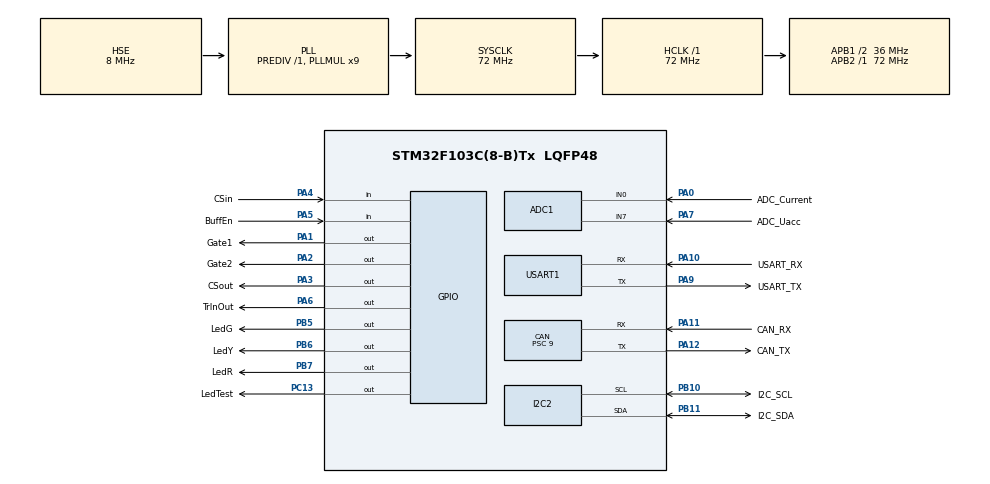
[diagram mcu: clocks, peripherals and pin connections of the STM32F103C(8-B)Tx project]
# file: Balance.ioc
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ADC1.Channel-6\#ChannelRegularConversion=ADC_CHANNEL_0
ADC1.Channel-7\#ChannelRegularConversion=ADC_CHANNEL_7
ADC1.EnableRegularConversion=ENABLE
ADC1.InjNumberOfConversion=0
ADC1.NbrOfConversion=2
ADC1.NbrOfConversionFlag=1
ADC1.Rank-6\#ChannelRegularConversion=1
ADC1.Rank-7\#ChannelRegularConversion=2
ADC1.SamplingTime-6\#ChannelRegularConversion=ADC_SAMPLETIME_13CYCLES_5
ADC1.SamplingTime-7\#ChannelRegularConversion=ADC_SAMPLETIME_13CYCLES_5
ADC1.master=1
CAN.BS1=CAN_BS1_4TQ
CAN.BS2=CAN_BS2_3TQ
CAN.CalculateTimeBit=2000
CAN.CalculateTimeQuantum=250.0
CAN.Mode=CAN_MODE_SILENT_LOOPBACK
CAN.NART=ENABLE
CAN.Prescaler=9
CAN.TXFP=ENABLE
Dma.ADC1.2.Direction=DMA_PERIPH_TO_MEMORY
Dma.ADC1.2.Instance=DMA1_Channel1
Dma.ADC1.2.MemDataAlignment=DMA_MDATAALIGN_HALFWORD
Dma.ADC1.2.MemInc=DMA_MINC_ENABLE
Dma.ADC1.2.Mode=DMA_CIRCULAR
Dma.ADC1.2.PeriphDataAlignment=DMA_PDATAALIGN_HALFWORD
Dma.ADC1.2.PeriphInc=DMA_PINC_DISABLE
Dma.ADC1.2.Priority=DMA_PRIORITY_MEDIUM
Dma.Request0=USART1_TX
Dma.Request1=USART1_RX
Dma.Request2=ADC1
Dma.USART1_RX.1.Direction=DMA_PERIPH_TO_MEMORY
Dma.USART1_RX.1.Instance=DMA1_Channel5
Dma.USART1_RX.1.MemDataAlignment=DMA_MDATAALIGN_BYTE
Dma.USART1_RX.1.MemInc=DMA_MINC_ENABLE
Dma.USART1_RX.1.Mode=DMA_NORMAL
Dma.USART1_RX.1.PeriphDataAlignment=DMA_PDATAALIGN_BYTE
Dma.USART1_RX.1.PeriphInc=DMA_PINC_DISABLE
Dma.USART1_RX.1.Priority=DMA_PRIORITY_LOW
Dma.USART1_TX.0.Direction=DMA_MEMORY_TO_PERIPH
Dma.USART1_TX.0.Instance=DMA1_Channel4
Dma.USART1_TX.0.MemDataAlignment=DMA_MDATAALIGN_BYTE
Dma.USART1_TX.0.MemInc=DMA_MINC_ENABLE
Dma.USART1_TX.0.Mode=DMA_NORMAL
Dma.USART1_TX.0.PeriphDataAlignment=DMA_PDATAALIGN_BYTE
Dma.USART1_TX.0.PeriphInc=DMA_PINC_DISABLE
Dma.USART1_TX.0.Priority=DMA_PRIORITY_LOW
Mcu.Family=STM32F1
Mcu.Name=STM32F103C(8-B)Tx
Mcu.Package=LQFP48
Mcu.UserConstants=USART_BAUD_RATE,115200
NVIC.DMA1_Channel1_IRQn=true\:0\:0\:false\:false\:true\:false
NVIC.DMA1_Channel4_IRQn=true\:0\:0\:false\:false\:true\:false
NVIC.DMA1_Channel5_IRQn=true\:0\:0\:false\:false\:true\:false
NVIC.PriorityGroup=NVIC_PRIORITYGROUP_4
NVIC.USART1_IRQn=true\:0\:0\:false\:false\:true\:true
NVIC.USB_LP_CAN1_RX0_IRQn=true\:0\:0\:false\:false\:true\:true
PA0-WKUP.GPIO_Label=ADC_Current
PA0-WKUP.Signal=ADCx_IN0
PA1.GPIO_Label=Gate1
PA1.GPIO_PuPd=GPIO_PULLDOWN
PA1.PinState=GPIO_PIN_RESET
PA1.Signal=GPIO_Output
PA10.GPIO_Label=USART_RX
PA10.GPIO_PuPd=GPIO_PULLUP
PA10.Mode=Asynchronous
PA10.Signal=USART1_RX
PA11.GPIO_Label=CAN_RX
PA11.GPIO_PuPd=GPIO_PULLUP
PA11.Mode=Master
PA11.Signal=CAN_RX
PA12.GPIO_Label=CAN_TX
PA12.Mode=Master
PA12.Signal=CAN_TX
PA13.GPIO_Label=SWDIO
PA13.Mode=Serial_Wire
PA13.Signal=SYS_JTMS-SWDIO
PA14.GPIO_Label=SWCLK
PA14.Mode=Serial_Wire
PA14.Signal=SYS_JTCK-SWCLK
PA2.GPIO_Label=Gate2
PA2.GPIO_PuPd=GPIO_PULLDOWN
PA2.Signal=GPIO_Output
PA3.GPIO_Label=CSout
PA3.GPIO_PuPd=GPIO_NOPULL
PA3.PinState=GPIO_PIN_SET
PA3.Signal=GPIO_Output
PA4.GPIO_Label=CSin
PA4.GPIO_PuPd=GPIO_PULLUP
PA4.Signal=GPIO_Input
PA5.GPIO_Label=BuffEn
PA5.GPIO_PuPd=GPIO_PULLUP
PA5.Signal=GPIO_Input
PA6.GPIO_Label=TrInOut
PA6.GPIO_PuPd=GPIO_PULLDOWN
PA6.Signal=GPIO_Output
PA7.GPIO_Label=ADC_Uacc
PA7.Signal=ADCx_IN7
PA9.GPIO_Label=USART_TX
PA9.Mode=Asynchronous
PA9.Signal=USART1_TX
PB10.GPIO_Label=I2C_SCL
PB10.Mode=I2C
PB10.Signal=I2C2_SCL
PB11.GPIO_Label=I2C_SDA
PB11.Mode=I2C
PB11.Signal=I2C2_SDA
PB5.GPIO_Label=LedG
PB5.GPIO_PuPd=GPIO_NOPULL
PB5.PinState=GPIO_PIN_SET
PB5.Signal=GPIO_Output
PB6.GPIO_Label=LedY
PB6.GPIO_PuPd=GPIO_NOPULL
PB6.PinState=GPIO_PIN_SET
PB6.Signal=GPIO_Output
PB7.GPIO_Label=LedR
PB7.GPIO_PuPd=GPIO_NOPULL
PB7.PinState=GPIO_PIN_SET
PB7.Signal=GPIO_Output
PC13-TAMPER-RTC.GPIO_Label=LedTest
PC13-TAMPER-RTC.GPIO_PuPd=GPIO_NOPULL
PC13-TAMPER-RTC.PinState=GPIO_PIN_SET
PC13-TAMPER-RTC.Signal=GPIO_Output
PD0-OSC_IN.GPIO_Label=OSC_IN
PD0-OSC_IN.Mode=HSE-External-Oscillator
PD0-OSC_IN.Signal=RCC_OSC_IN
PD1-OSC_OUT.GPIO_Label=OSC_OUT
PD1-OSC_OUT.Mode=HSE-External-Oscillator
PD1-OSC_OUT.Signal=RCC_OSC_OUT
ProjectManager.HeapSize=0x200
ProjectManager.StackSize=0x400
ProjectManager.TargetToolchain=Other Toolchains (GPDSC)
RCC.ADCPresc=RCC_ADCPCLK2_DIV6
RCC.AHBFreq_Value=72000000
RCC.APB1CLKDivider=RCC_HCLK_DIV2
RCC.APB1Freq_Value=36000000
RCC.APB1TimFreq_Value=72000000
RCC.APB2Freq_Value=72000000
RCC.APB2TimFreq_Value=72000000
RCC.HCLKFreq_Value=72000000
RCC.PLLMUL=RCC_PLL_MUL9
RCC.PLLSourceVirtual=RCC_PLLSOURCE_HSE
RCC.SYSCLKFreq_VALUE=72000000
RCC.SYSCLKSource=RCC_SYSCLKSOURCE_PLLCLK
RCC.USBFreq_Value=72000000
SH.ADCx_IN0.0=ADC1_IN0,IN0
SH.ADCx_IN7.0=ADC1_IN7,IN7
USART1.BaudRate=USART_BAUD_RATE
USART1.VirtualMode=VM_ASYNC
board=custom

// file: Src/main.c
/* USER CODE BEGIN Header */
/**
  ******************************************************************************
  * @file           : main.c
  * @brief          : Main program body
  ******************************************************************************
  ** This notice applies to any and all portions of this file
  * that are not between comment pairs USER CODE BEGIN and
  * USER CODE END. Other portions of this file, whether
  * inserted by the user or by software development tools
  * are owned by their respective copyright owners.
  *
  * COPYRIGHT(c) 2019 STMicroelectronics
  *
  * Redistribution and use in source and binary forms, with or without modification,
  * are permitted provided that the following conditions are met:
  *   1. Redistributions of source code must retain the above copyright notice,
  *      this list of conditions and the following disclaimer.
  *   2. Redistributions in binary form must reproduce the above copyright notice,
  *      this list of conditions and the following disclaimer in the documentation
  *      and/or other materials provided with the distribution.
  *   3. Neither the name of STMicroelectronics nor the names of its contributors
  *      may be used to endorse or promote products derived from this software
  *      without specific prior written permission.
  *
  * THIS SOFTWARE IS PROVIDED BY THE COPYRIGHT HOLDERS AND CONTRIBUTORS "AS IS"
  * AND ANY EXPRESS OR IMPLIED WARRANTIES, INCLUDING, BUT NOT LIMITED TO, THE
  * IMPLIED WARRANTIES OF MERCHANTABILITY AND FITNESS FOR A PARTICULAR PURPOSE ARE
  * DISCLAIMED. IN NO EVENT SHALL THE COPYRIGHT HOLDER OR CONTRIBUTORS BE LIABLE
  * FOR ANY DIRECT, INDIRECT, INCIDENTAL, SPECIAL, EXEMPLARY, OR CONSEQUENTIAL
  * DAMAGES (INCLUDING, BUT NOT LIMITED TO, PROCUREMENT OF SUBSTITUTE GOODS OR
  * SERVICES; LOSS OF USE, DATA, OR PROFITS; OR BUSINESS INTERRUPTION) HOWEVER
  * CAUSED AND ON ANY THEORY OF LIABILITY, WHETHER IN CONTRACT, STRICT LIABILITY,
  * OR TORT (INCLUDING NEGLIGENCE OR OTHERWISE) ARISING IN ANY WAY OUT OF THE USE
  * OF THIS SOFTWARE, EVEN IF ADVISED OF THE POSSIBILITY OF SUCH DAMAGE.
  *
  ******************************************************************************
  */
/* USER CODE END Header */

#include "main.h"
#include "adc.h"
#include "can.h"
#include "dma.h"
#include "i2c.h"
#include "usart.h"
#include "gpio.h"

/* USER CODE BEGIN Includes */
#include "memoryMA.h"
/* USER CODE END Includes */

/* USER CODE BEGIN PV */

char str[20];
/* USER CODE END PV */

void SystemClock_Config(void);
/* USER CODE BEGIN PFP */
void CAN_Send_Test();
void CAN_Send_Msg();
/* USER CODE END PFP */

int main(void)
{

  /* MCU Configuration--------------------------------------------------------*/

  /* Reset of all peripherals, Initializes the Flash interface and the Systick. */
  HAL_Init();

  /* Configure the system clock */
  SystemClock_Config();

  /* Initialize all configured peripherals */
  MX_GPIO_Init();
  MX_DMA_Init();
  MX_ADC1_Init();
  MX_CAN_Init();
  MX_I2C2_Init();
  MX_USART1_UART_Init();
  /* USER CODE BEGIN 2 */
	CAN_ConfigureFilter();
	HAL_CAN_Start(&hcan);

	UART_ReceiveIncomingPackageSize();
	startADCConversion();
  /* USER CODE END 2 */

  /* Infinite loop */
  /* USER CODE BEGIN WHILE */

	measurements.TemperatureAnode = 15;
	measurements.TemperatureCathode = -23;
	measurements.TemperatureVT1 = 115;
	measurements.MA_Event_Register = 0b0000001111011100;
	while (true)
	{
		updateMeasurements();
		HAL_GPIO_TogglePin(LedTest_GPIO_Port, LedTest_Pin);
		HAL_Delay(500);
//		sprintf(str, "U=%dmV I=%dmA\r\n", measurements.U_cell, measurements.I_balance);
//		UART_SendString(str);
//		CAN_Send_Test();
    /* USER CODE END WHILE */

	}
}

void SystemClock_Config(void)
{
  RCC_OscInitTypeDef RCC_OscInitStruct = {0};
  RCC_ClkInitTypeDef RCC_ClkInitStruct = {0};
  RCC_PeriphCLKInitTypeDef PeriphClkInit = {0};

  /**Initializes the CPU, AHB and APB busses clocks
  */
  RCC_OscInitStruct.OscillatorType = RCC_OSCILLATORTYPE_HSE;
  RCC_OscInitStruct.HSEState = RCC_HSE_ON;
  RCC_OscInitStruct.HSEPredivValue = RCC_HSE_PREDIV_DIV1;
  RCC_OscInitStruct.HSIState = RCC_HSI_ON;
  RCC_OscInitStruct.PLL.PLLState = RCC_PLL_ON;
  RCC_OscInitStruct.PLL.PLLSource = RCC_PLLSOURCE_HSE;
  RCC_OscInitStruct.PLL.PLLMUL = RCC_PLL_MUL9;
  if (HAL_RCC_OscConfig(&RCC_OscInitStruct) != HAL_OK)
  {
    Error_Handler();
  }
  /**Initializes the CPU, AHB and APB busses clocks
  */
  RCC_ClkInitStruct.ClockType = RCC_CLOCKTYPE_HCLK|RCC_CLOCKTYPE_SYSCLK
                              |RCC_CLOCKTYPE_PCLK1|RCC_CLOCKTYPE_PCLK2;
  RCC_ClkInitStruct.SYSCLKSource = RCC_SYSCLKSOURCE_PLLCLK;
  RCC_ClkInitStruct.AHBCLKDivider = RCC_SYSCLK_DIV1;
  RCC_ClkInitStruct.APB1CLKDivider = RCC_HCLK_DIV2;
  RCC_ClkInitStruct.APB2CLKDivider = RCC_HCLK_DIV1;

  if (HAL_RCC_ClockConfig(&RCC_ClkInitStruct, FLASH_LATENCY_2) != HAL_OK)
  {
    Error_Handler();
  }
  PeriphClkInit.PeriphClockSelection = RCC_PERIPHCLK_ADC;
  PeriphClkInit.AdcClockSelection = RCC_ADCPCLK2_DIV6;
  if (HAL_RCCEx_PeriphCLKConfig(&PeriphClkInit) != HAL_OK)
  {
    Error_Handler();
  }
}

void Error_Handler(void)
{
  /* USER CODE BEGIN Error_Handler_Debug */
  /* User can add his own implementation to report the HAL error return state */
	while (true)
	{
		HAL_GPIO_TogglePin(LedTest_GPIO_Port, LedTest_Pin);
		HAL_Delay(40);
		HAL_GPIO_TogglePin(LedTest_GPIO_Port, LedTest_Pin);
		HAL_Delay(40);
	}
  /* USER CODE END Error_Handler_Debug */
}

/************************ (C) COPYRIGHT STMicroelectronics *****END OF FILE****/
